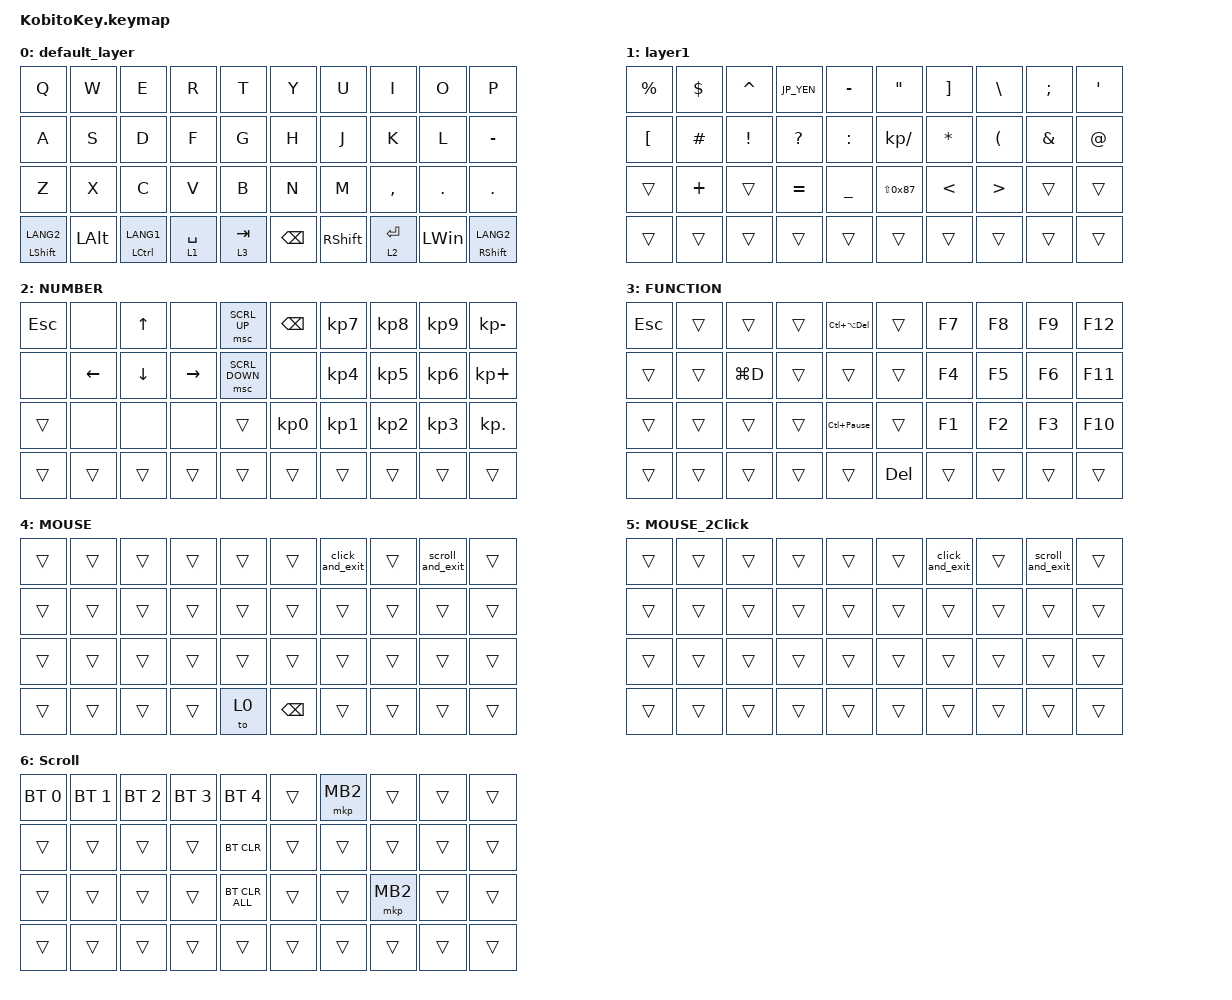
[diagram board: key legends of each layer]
#include <input/processors.dtsi>
#include <behaviors.dtsi>
#include <dt-bindings/zmk/bt.h>
#include <dt-bindings/zmk/keys.h>
#include <dt-bindings/zmk/pointing.h>

#define JP_DQUOTE       AT                // "
#define JP_AMPERSAND    CARET             // &
#define JP_QUOTE        AMPERSAND         // '
#define JP_EQUAL        UNDER             // =
#define JP_CARET        EQUAL             // ^
#define JP_YEN          0x89              // ¥
#define JP_PLUS         COLON             // +
#define JP_TILDE        PLUS              // ~
#define JP_PIPE         LS(0x89)          // |
#define JP_AT           LEFT_BRACKET      // @
#define JP_COLON        SINGLE_QUOTE      // :
#define JP_ASTERISK     DOUBLE_QUOTES     // *
#define JP_BACKQUOTE    LEFT_BRACE        // `
#define JP_UNDERSCORE   LS(0x87)          // _
#define JP_LBRACKET     RIGHT_BRACKET     // [
#define JP_RBRACKET     BACKSLASH         // ]
#define JP_LPAREN       ASTERISK          // (
#define JP_RPAREN       LEFT_PARENTHESIS  // )
#define JP_LBRACE       RIGHT_BRACE       // {
#define JP_RBRACE       PIPE              // }
#define JP_KANA         LANGUAGE_1        // かな
#define JP_EISU         LANGUAGE_2        // 英数
#define JP_HANZEN       GRAVE             // 半角/全角

&mt { tapping-term-ms = <300>; };

&lt { tapping-term-ms = <300>; };

//&mkp_input_listener { input-processors = <&zip_temp_layer 5 250>; };

/ {
    combos {
        compatible = "zmk,combos";

        combo_eisu {
            timeout-ms = <50>;
            key-positions = <12 13>;
            bindings = <&kp LANG2>;
        };

        combo_kana {
            timeout-ms = <50>;
            key-positions = <16 17>;
            bindings = <&kp LANG1>;
        };

        combo_esc {
            timeout-ms = <50>;
            key-positions = <0 1>;
            bindings = <&kp ESC>;
        };

        /*
        combo_tab {
            timeout-ms = <50>;
            key-positions = <10 11>;
            bindings = <&kp TAB>;
        };
*/
    };

    behaviors {
        st: scroll_tap {
            compatible = "zmk,behavior-hold-tap";
            label = "SCROLL_TAP";
            bindings = <&mo>, <&kp>;

            #binding-cells = <2>;
            tapping-term-ms = <200>;
            flavor = "balanced";
            hold-while-undecided;
        };
    };

    //ここから　オートマウスレイヤーからクリックキー（スクロールキー）を押下後、すぐに脱出するマクロ
    // sticky keyの設定だが、bindingsの設定が&moなので実質的にsticky layerとしての設定
    // 簡単のため、今後は単にslと呼ぶ

    behaviors {
        sl_mouse: sticky_layer_for_mouse {
            compatible = "zmk,behavior-sticky-key";
            #binding-cells = <1>;
            bindings = <&mo>;
            release-after-ms = <800>; // 800msだけクリック用レイヤに移動する（必要に応じて時間を変更）
            quick-release;
            ignore-modifiers;
        };
    };

    macros {
        click_and_exit: click_and_exit {
            label = "CLICK_AND_EXIT";
            compatible = "zmk,behavior-macro";
            #binding-cells = <0>;
            bindings =
                <&macro_press>,
                <&mkp MB1>,
                <&macro_pause_for_release>,
                <&macro_release>,
                <&mkp MB1>,
                <&macro_tap>,
                <&to 0>,
                <&macro_tap>,
                <&sl_mouse 5>;
        };

        scroll_and_exit: scroll_and_exit {
            label = "SCROLL_AND_EXIT";
            compatible = "zmk,behavior-macro";
            #binding-cells = <0>;
            bindings =
                <&macro_tap>,
                <&to 6>,
                <&macro_pause_for_release>,
                <&macro_tap>,
                <&to 0>,
                <&macro_tap>,
                <&sl_mouse 5>;
        };
    };

    //ここまで　オートマウスレイヤーからクリックキー（スクロールキー）を押下後、すぐに脱出するマクロ

    keymap {
        compatible = "zmk,keymap";

        default_layer {
            bindings = <
&kp Q            &kp W         &kp E                   &kp R        &kp T      &kp Y     &kp U            &kp I        &kp O         &kp P
&kp A            &kp S         &kp D                   &kp F        &kp G      &kp H     &kp J            &kp K        &kp L         &kp MINUS
&kp Z            &kp X         &kp C                   &kp V        &kp B      &kp N     &kp M            &kp COMMA    &kp DOT       &kp DOT
&mt LSHFT LANG2  &kp LEFT_ALT  &mt LEFT_CONTROL LANG1  &lt 1 SPACE  &lt 3 TAB  &kp BSPC  &kp RIGHT_SHIFT  &lt 2 ENTER  &kp LEFT_WIN  &mt RIGHT_SHIFT LANG2
            >;
        };

        layer1 {
            bindings = <
&kp PERCENT  &kp DOLLAR    &kp JP_AMPERSAND  &kp JP_YEN    &kp MINUS     &kp JP_ASTERISK    &kp JP_LBRACKET  &kp JP_RBRACKET   &kp SEMI      &kp JP_COLON
&kp JP_AT    &kp POUND     &kp EXCLAMATION   &kp QUESTION  &kp JP_PLUS   &kp KP_DIVIDE      &kp JP_LPAREN    &kp JP_RPAREN     &kp JP_QUOTE  &kp JP_DQUOTE
&trans       &kp JP_TILDE  &trans            &kp JP_CARET  &kp JP_EQUAL  &kp JP_UNDERSCORE  &kp LESS_THAN    &kp GREATER_THAN  &trans        &trans
&trans       &trans        &trans            &trans        &trans        &trans             &trans           &trans            &trans        &trans
            >;
        };

        layer2 {
            label = "NUMBER";
            bindings = <
&kp ESC  &none     &kp UP    &none      &msc SCRL_UP    &kp BACKSPACE    &kp KP_N7        &kp KP_NUMBER_8  &kp KP_NUMBER_9  &kp KP_MINUS
&none    &kp LEFT  &kp DOWN  &kp RIGHT  &msc SCRL_DOWN  &none            &kp KP_N4        &kp KP_N5        &kp KP_N6        &kp KP_PLUS
&trans   &none     &none     &none      &trans          &kp KP_NUMBER_0  &kp KP_NUMBER_1  &kp KP_NUMBER_2  &kp KP_NUMBER_3  &kp KP_DOT
&trans   &trans    &trans    &trans     &trans          &trans           &trans           &trans           &trans           &trans
            >;
        };

        layer3 {
            label = "FUNCTION";
            bindings = <
&kp ESC  &trans  &trans     &trans  &kp LC(LA(DELETE))   &trans   &kp F7  &kp F8  &kp F9  &kp F12
&trans   &trans  &kp LG(D)  &trans  &trans               &trans   &kp F4  &kp F5  &kp F6  &kp F11
&trans   &trans  &trans     &trans  &kp LC(PAUSE_BREAK)  &trans   &kp F1  &kp F2  &kp F3  &kp F10
&trans   &trans  &trans     &trans  &trans               &kp DEL  &trans  &trans  &trans  &trans
            >;
        };

        layer4 {
            label = "MOUSE";
            bindings = <
&trans  &trans  &trans  &trans  &trans  &trans         &click_and_exit  &trans  &scroll_and_exit  &trans
&trans  &trans  &trans  &trans  &trans  &trans         &trans           &trans  &trans            &trans
&trans  &trans  &trans  &trans  &trans  &trans         &trans           &trans  &trans            &trans
&trans  &trans  &trans  &trans  &to 0   &kp BACKSPACE  &trans           &trans  &trans            &trans
            >;
        };

        layer_5 {
            label = "MOUSE_2Click";
            bindings = <
&trans  &trans  &trans  &trans  &trans  &trans  &click_and_exit  &trans  &scroll_and_exit  &trans
&trans  &trans  &trans  &trans  &trans  &trans  &trans           &trans  &trans            &trans
&trans  &trans  &trans  &trans  &trans  &trans  &trans           &trans  &trans            &trans
&trans  &trans  &trans  &trans  &trans  &trans  &trans           &trans  &trans            &trans
            >;
        };

        layer_6 {
            label = "Scroll";
            bindings = <
&bt BT_SEL 0  &bt BT_SEL 1  &bt BT_SEL 2  &bt BT_SEL 3  &bt BT_SEL 4    &trans  &mkp MB2  &trans    &trans  &trans
&trans        &trans        &trans        &trans        &bt BT_CLR      &trans  &trans    &trans    &trans  &trans
&trans        &trans        &trans        &trans        &bt BT_CLR_ALL  &trans  &trans    &mkp MB2  &trans  &trans
&trans        &trans        &trans        &trans        &trans          &trans  &trans    &trans    &trans  &trans
            >;
        };
    };
};
